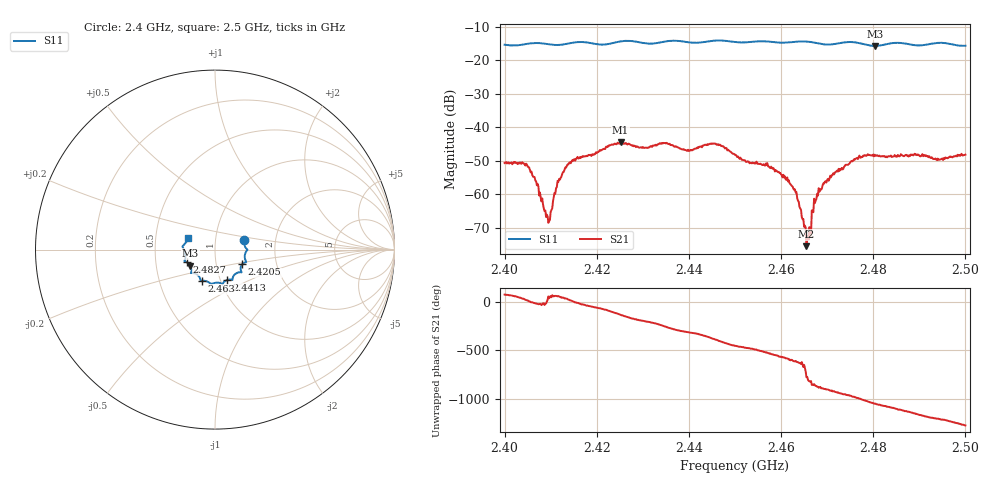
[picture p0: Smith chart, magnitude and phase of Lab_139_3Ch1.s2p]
# Hz S RI R 50
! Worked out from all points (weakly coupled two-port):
!   601 points, 2.4 GHz to 2.5 GHz, reference 50 ohm
!   highest |S21| = -44.51 dB at 2.4252 GHz (marker M1); lowest = -75.4 dB at 2.4655 GHz (marker M2)
!   lowest |S11| = -15.7 dB at 2.4803 GHz (marker M3), VSWR 1.39, Z = 37.4 - j6.81 ohm
!   |S11| at or under -10 dB: start of sweep to end of sweep
!   S12 and S22 are empty: the file has one direction only
!   S11 on the Smith chart (normalised r, x): 2.4 GHz: 1.38, +0.15; 2.4205 GHz: 1.34, -0.22; 2.4413 GHz: 1.07, -0.38; 2.463 GHz: 0.82, -0.29; 2.4827 GHz: 0.72, -0.11; 2.5 GHz: 0.73, +0.10
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2.4e9  0.1625 0.0522  0.000572 0.00289  0 0  0 0
2.405e9  0.1761 0.00406  0.00249 0.000741  0 0  0 0
2.4095e9  0.1734 -0.0108  0.00019 0.000327  0 0  0 0
2.413e9  0.1665 -0.0481  0.00183 0.00145  0 0  0 0
2.416667e9  0.1737 -0.0694  0.00333 -0.00146  0 0  0 0
2.4205e9  0.1519 -0.0809  0.002 -0.00391  0 0  0 0
2.425167e9  0.1464 -0.1228  -0.00389 -0.0045  0 0  0 0
2.433333e9  0.1007 -0.1516  -0.00367 0.0042  0 0  0 0
2.441333e9  0.0669 -0.1696  0.00389 0.00283  0 0  0 0
2.4455e9  0.0428 -0.1913  0.00529 -0.00227  0 0  0 0
2.45e9  0.0248 -0.1855  -0.000277 -0.00387  0 0  0 0
2.4575e9  -0.0275 -0.1874  -0.00253 -0.000257  0 0  0 0
2.463e9  -0.0722 -0.1737  -0.000313 0.00115  0 0  0 0
2.4655e9  -0.0801 -0.1724  8.87e-05 -0.000144  0 0  0 0
2.466e9  -0.0806 -0.1706  -2.65e-05 -0.00021  0 0  0 0
2.466667e9  -0.0813 -0.1673  -0.000432 -0.000383  0 0  0 0
2.467667e9  -0.0833 -0.1602  -0.000741 -0.000432  0 0  0 0
2.469667e9  -0.0951 -0.1431  -0.00158 4.4e-05  0 0  0 0
2.480333e9  -0.1373 -0.0886  0.00349 0.00175  0 0  0 0
2.482667e9  -0.1575 -0.0707  0.00359 0.0002  0 0  0 0
2.483333e9  -0.1627 -0.0682  0.0037 -0.000457  0 0  0 0
2.5e9  -0.1518 0.0641  -0.00371 0.00127  0 0  0 0
